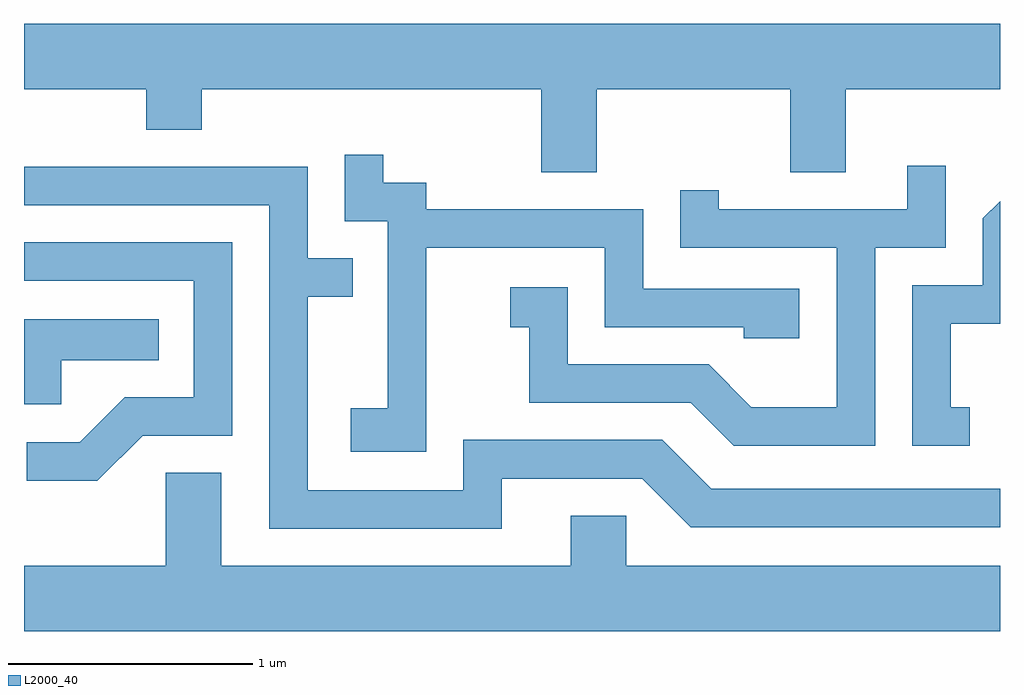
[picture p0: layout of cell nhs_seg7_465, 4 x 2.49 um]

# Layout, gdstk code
import gdstk
lib = gdstk.Library(unit=1e-6, precision=1e-09)
def P(c, l, *ps):  # polygons
    for p in ps: c.add(gdstk.Polygon(p, *l))
L2000_40 = (2000, 40)

nhs_seg7_465 = lib.new_cell('nhs_seg7_465')
P(nhs_seg7_465, L2000_40, [(199.959,1789.796),(200.751,1789.796),(200.751,1789.456),(200.979,1789.456),(200.979,1789.796),(201.611,1789.796),(201.611,1790.064),(197.611,1790.064),(197.611,1789.796),(198.111,1789.796),(198.111,1789.631),(198.339,1789.631),(198.339,1789.796),(199.731,1789.796),(199.731,1789.456),(199.959,1789.456)],
  [(199.259,1789.146),(199.991,1789.146),(199.991,1788.821),(200.561,1788.821),(200.561,1788.776),(200.789,1788.776),(200.789,1788.979),(200.149,1788.979),(200.149,1789.304),(199.259,1789.304),(199.259,1789.414),(199.084,1789.414),(199.084,1789.528),(198.926,1789.528),(198.926,1789.256),(199.101,1789.256),(199.101,1788.489),(198.951,1788.489),(198.951,1788.311),(199.259,1788.311)],
  [(201.099,1789.146),(201.389,1789.146),(201.389,1789.483),(201.231,1789.483),(201.231,1789.304),(200.459,1789.304),(200.459,1789.383),(200.301,1789.383),(200.301,1789.146),(200.941,1789.146),(200.941,1788.494),(200.592,1788.494),(200.417,1788.669),(199.839,1788.669),(199.839,1788.984),(199.603,1788.984),(199.603,1788.821),(199.681,1788.821),(199.681,1788.511),(200.344,1788.511),(200.519,1788.336),(201.099,1788.336)],
  [(199.569,1788.201),(200.144,1788.201),(200.344,1788.001),(201.611,1788.001),(201.611,1788.159),(200.427,1788.159),(200.227,1788.359),(199.411,1788.359),(199.411,1788.154),(198.774,1788.154),(198.774,1788.946),(198.958,1788.946),(198.958,1789.104),(198.774,1789.104),(198.774,1789.479),(197.611,1789.479),(197.611,1789.321),(198.616,1789.321),(198.616,1787.996),(199.569,1787.996)],
  [(201.488,1788.494),(201.409,1788.494),(201.409,1788.836),(201.611,1788.836),(201.611,1789.337),(201.541,1789.267),(201.541,1788.994),(201.251,1788.994),(201.251,1788.336),(201.488,1788.336)],
  [(198.097,1788.376),(198.464,1788.376),(198.464,1789.169),(197.611,1789.169),(197.611,1789.011),(198.306,1789.011),(198.306,1788.534),(198.024,1788.534),(197.839,1788.349),(197.623,1788.349),(197.623,1788.191),(197.912,1788.191)],
  [(197.764,1788.686),(198.163,1788.686),(198.163,1788.854),(197.611,1788.854),(197.611,1788.506),(197.764,1788.506)],
  [(201.611,1787.844),(200.079,1787.844),(200.079,1788.049),(199.851,1788.049),(199.851,1787.844),(198.419,1787.844),(198.419,1788.224),(198.191,1788.224),(198.191,1787.844),(197.611,1787.844),(197.611,1787.576),(201.611,1787.576)])

lib.write_gds('nhs_seg7_465.gds')
